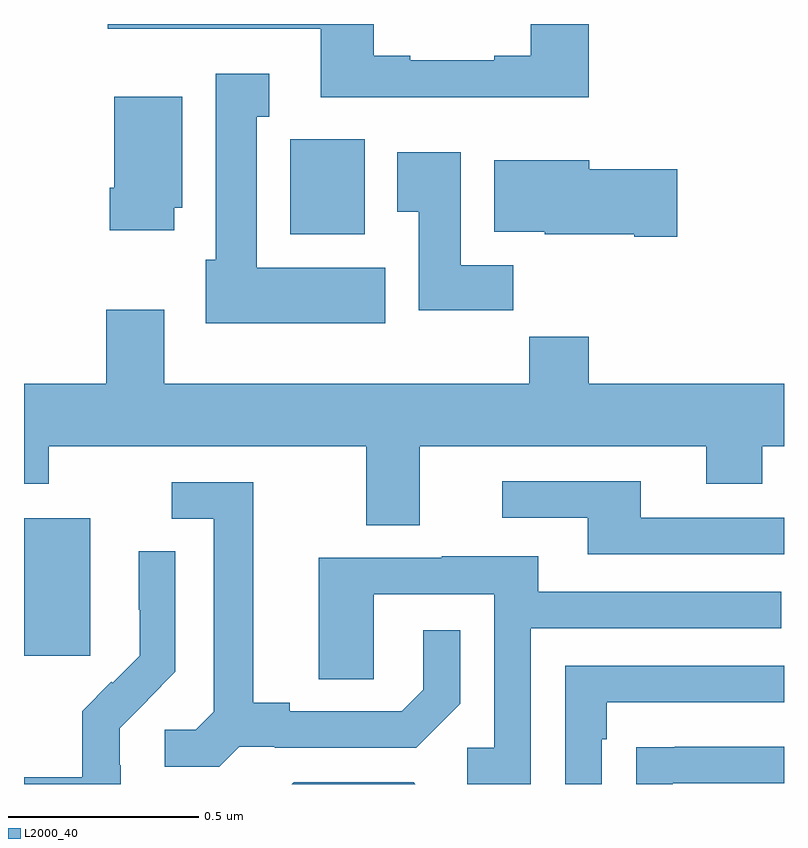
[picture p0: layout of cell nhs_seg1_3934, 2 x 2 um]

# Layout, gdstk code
import gdstk
lib = gdstk.Library(unit=1e-6, precision=1e-09)
def R(c, l, rs):  # rectangles x0, y0, x1, y1
    for r in rs: c.add(gdstk.rectangle(r[:2], r[2:], *l))
def P(c, l, *ps):  # polygons
    for p in ps: c.add(gdstk.Polygon(p, *l))
L2000_40 = (2000, 40)

nhs_seg1_3934 = lib.new_cell('nhs_seg1_3934')
R(nhs_seg1_3934, L2000_40, [(160,528.537,160.174,528.898), (160.701,529.646,160.897,529.896)])
P(nhs_seg1_3934, L2000_40, [(161.486,530.199),(161.333,530.199),(161.333,530.116),(161.237,530.116),(161.237,530.103),(161.017,530.103),(161.017,530.116),(160.921,530.116),(160.921,530.199),(160.221,530.199),(160.221,530.187),(160.781,530.187),(160.781,530.006),(161.486,530.006)],
  [(160.951,529.558),(160.612,529.558),(160.612,529.955),(160.645,529.955),(160.645,530.068),(160.505,530.068),(160.505,529.578),(160.478,529.578),(160.478,529.412),(160.951,529.412)],
  [(160.396,529.716),(160.417,529.716),(160.417,530.008),(160.238,530.008),(160.238,529.768),(160.226,529.768),(160.226,529.656),(160.396,529.656)],
  [(161.288,529.564),(161.149,529.564),(161.149,529.861),(160.982,529.861),(160.982,529.705),(161.039,529.705),(161.039,529.446),(161.288,529.446)],
  [(161.719,529.817),(161.488,529.817),(161.488,529.84),(161.237,529.84),(161.237,529.652),(161.37,529.652),(161.37,529.646),(161.606,529.646),(161.606,529.639),(161.719,529.639)],
  [(161.041,529.088),(161.795,529.088),(161.795,528.989),(161.943,528.989),(161.943,529.088),(162,529.088),(162,529.252),(161.486,529.252),(161.486,529.376),(161.329,529.376),(161.329,529.252),(160.369,529.252),(160.369,529.447),(160.217,529.447),(160.217,529.252),(160,529.252),(160,528.989),(160.065,528.989),(160.065,529.088),(160.901,529.088),(160.901,528.88),(161.041,528.88)],
  [(162,528.9),(161.623,528.9),(161.623,528.996),(161.259,528.996),(161.259,528.9),(161.483,528.9),(161.483,528.804),(162,528.804)],
  [(160.566,528.297),(160.66,528.297),(160.66,528.294),(161.032,528.294),(161.148,528.41),(161.148,528.604),(161.051,528.604),(161.051,528.447),(160.994,528.39),(160.699,528.39),(160.699,528.413),(160.603,528.413),(160.603,528.993),(160.389,528.993),(160.389,528.897),(160.499,528.897),(160.499,528.389),(160.452,528.342),(160.371,528.342),(160.371,528.245),(160.514,528.245)],
  [(160.254,528.249),(160.252,528.249),(160.252,528.346),(160.326,528.42),(160.325,528.421),(160.398,528.494),(160.398,528.812),(160.302,528.812),(160.302,528.658),(160.304,528.658),(160.304,528.536),(160.233,528.465),(160.23,528.468),(160.153,528.391),(160.153,528.217),(160,528.217),(160,528.199),(160.254,528.199)],
  [(161.334,528.609),(161.993,528.609),(161.993,528.705),(161.353,528.705),(161.353,528.799),(161.099,528.799),(161.099,528.795),(160.775,528.795),(160.775,528.475),(160.92,528.475),(160.92,528.699),(161.238,528.699),(161.238,528.294),(161.166,528.294),(161.166,528.199),(161.334,528.199)],
  [(161.52,528.317),(161.533,528.317),(161.533,528.414),(162,528.414),(162,528.51),(161.424,528.51),(161.424,528.199),(161.52,528.199)],
  [(161.707,528.201),(162,528.201),(162,528.297),(161.713,528.297),(161.713,528.296),(161.611,528.296),(161.611,528.199),(161.707,528.199)],
  [(161.025,528.204),(160.71,528.204),(160.705,528.199),(161.03,528.199)])

lib.write_gds('nhs_seg1_3934.gds')
